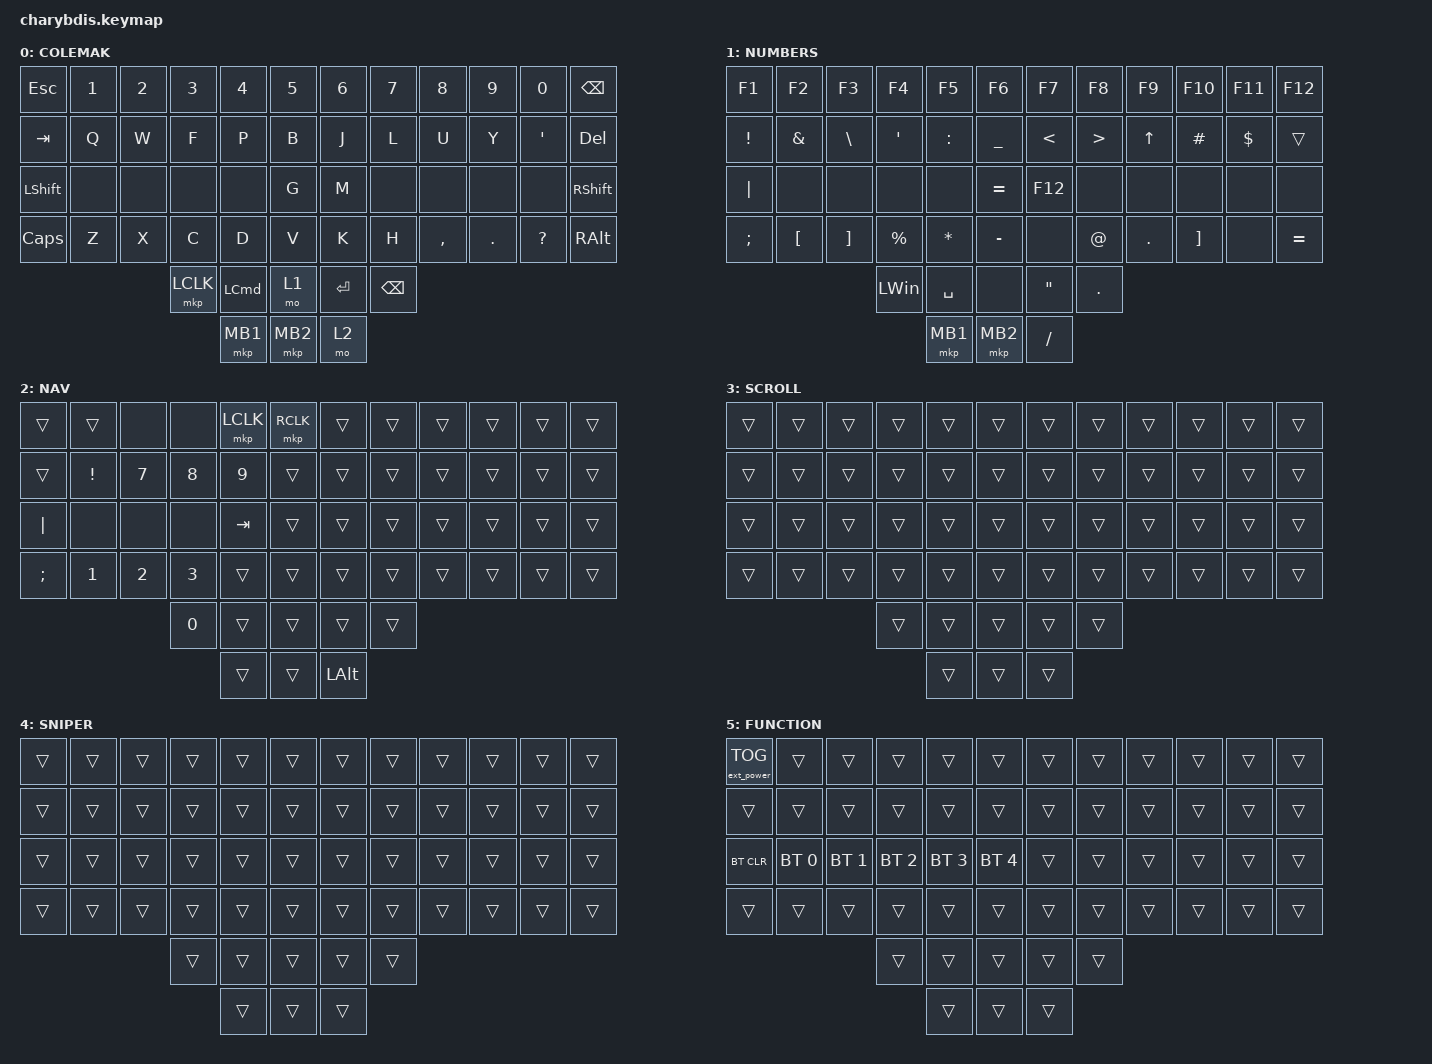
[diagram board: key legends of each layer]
#include <dt-bindings/zmk/mouse.h>
#include <behaviors/mouse_keys.dtsi>
#include <behaviors.dtsi>
#include <dt-bindings/zmk/bt.h>
#include <dt-bindings/zmk/ext_power.h>
#include <dt-bindings/zmk/keys.h>
#include <dt-bindings/zmk/pointing.h>

&lt {
    quick-tap-ms = <150>;
    flavor = "balanced";
};

/ {
    /* input config for mouse move mode */

    trackball_listener {
        compatible = "zmk,input-behavior-listener";
        device = <&vtrackball>;
        layers = <0 1 2>;
        evt-type = <INPUT_EV_REL>;
        x-input-code = <INPUT_REL_X>;
        y-input-code = <INPUT_REL_Y>;
        scale-multiplier = <1>;
        scale-divisor = <2>;
    };

    /* input config for snipe mode */

    trackball_snipe_listener {
        compatible = "zmk,input-behavior-listener";
        device = <&vtrackball>;
        layers = <4>;
        evt-type = <INPUT_EV_REL>;
        x-input-code = <INPUT_REL_X>;
        y-input-code = <INPUT_REL_Y>;
        scale-multiplier = <1>;
        scale-divisor = <4>;
    };

    /* input config for mouse scroll mode */

    trackball_scroll_listener {
        compatible = "zmk,input-behavior-listener";
        device = <&vtrackball>;
        layers = <3>;
        evt-type = <INPUT_EV_REL>;
        x-input-code = <INPUT_REL_MISC>;
        y-input-code = <INPUT_REL_WHEEL>;
        y-invert;
        bindings = <&ib_wheel_scaler 1 14>;
    };

    /* define a resolution down scaler only for INPUT_REL_WHEEL */

    ib_wheel_scaler: ib_wheel_scaler {
        compatible = "zmk,input-behavior-scaler";
        #binding-cells = <2>;
        evt-type = <INPUT_EV_REL>;
        input-code = <INPUT_REL_WHEEL>;
    };

    /* adjust cooldown waiting period for mouse key layer after activated */

    ib_toggle_layer: ib_toggle_layer {
        compatible = "zmk,input-behavior-tog-layer";
        #binding-cells = <1>;
        time-to-live-ms = <750>;
    };

    combos { compatible = "zmk,combos"; };

    keymap {
        compatible = "zmk,keymap";

        // Layer 0: Colemak-DH Base

        colemak_layer {
            bindings = <
&kp ESC     &kp N1  &kp N2  &kp N3     &kp N4    &kp N5      &kp N6     &kp N7    &kp N8     &kp N9   &kp N0            &kp BACKSPACE
&kp TAB     &kp Q   &kp W   &kp F      &kp P     &kp B       &kp J      &kp L     &kp U      &kp Y    &kp SINGLE_QUOTE  &kp DEL
&kp LSHIFT  &none   &none   &none      &none     &kp G       &kp M      &none     &none      &none    &none             &kp RSHIFT
&kp CAPS    &kp Z   &kp X   &kp C      &kp D     &kp V       &kp K      &kp H     &kp COMMA  &kp DOT  &kp QUESTION      &kp RALT
                            &mkp LCLK  &kp LCMD  &mo 1       &kp ENTER  &kp BSPC
                                       &mkp MB1  &mkp MB2    &mo 2
            >;

            label = "COLEMAK";
        };

        // Layer 1: Numbers and Symbols

        numbers_layer {
            bindings = <
&kp F1    &kp F2    &kp F3    &kp F4     &kp F5     &kp F6       &kp F7     &kp F8   &kp F9   &kp F10   &kp F11     &kp F12
&kp EXCL  &kp AMPS  &kp BSLH  &kp SQT    &kp COLON  &kp UNDER    &kp LT     &kp GT   &kp UP   &kp HASH  &kp DOLLAR  &trans
&kp PIPE  &none     &none     &none      &none      &kp EQUAL    &kp F12    &none    &none    &none     &none       &none
&kp SEMI  &kp LBKT  &kp RBKT  &kp PRCNT  &kp ASTRK  &kp MINUS    &none      &kp AT   &kp DOT  &kp RBKT  &none       &kp EQUAL
                              &kp LWIN   &kp SPACE  &none        &kp DQT    &kp DOT
                                         &mkp MB1   &mkp MB2     &kp SLASH
            >;

            label = "NUMBERS";
        };

        // Layer 2: Navigation and Function keys

        nav_layer {
            bindings = <
&trans    &trans    &none   &none   &mkp LCLK  &mkp RCLK    &trans    &trans  &trans  &trans  &trans  &trans
&trans    &kp EXCL  &kp N7  &kp N8  &kp N9     &trans       &trans    &trans  &trans  &trans  &trans  &trans
&kp PIPE  &none     &none   &none   &kp TAB    &trans       &trans    &trans  &trans  &trans  &trans  &trans
&kp SEMI  &kp N1    &kp N2  &kp N3  &trans     &trans       &trans    &trans  &trans  &trans  &trans  &trans
                            &kp N0  &trans     &trans       &trans    &trans
                                    &trans     &trans       &kp LALT
            >;

            label = "NAV";
        };

        // Layer 3: Scroll mode

        scroll_layer {
            bindings = <
&trans  &trans  &trans  &trans  &trans  &trans    &trans  &trans  &trans  &trans  &trans  &trans
&trans  &trans  &trans  &trans  &trans  &trans    &trans  &trans  &trans  &trans  &trans  &trans
&trans  &trans  &trans  &trans  &trans  &trans    &trans  &trans  &trans  &trans  &trans  &trans
&trans  &trans  &trans  &trans  &trans  &trans    &trans  &trans  &trans  &trans  &trans  &trans
                        &trans  &trans  &trans    &trans  &trans
                                &trans  &trans    &trans
            >;

            label = "SCROLL";
        };

        // Layer 4: Sniper mode

        sniper_layer {
            bindings = <
&trans  &trans  &trans  &trans  &trans  &trans    &trans  &trans  &trans  &trans  &trans  &trans
&trans  &trans  &trans  &trans  &trans  &trans    &trans  &trans  &trans  &trans  &trans  &trans
&trans  &trans  &trans  &trans  &trans  &trans    &trans  &trans  &trans  &trans  &trans  &trans
&trans  &trans  &trans  &trans  &trans  &trans    &trans  &trans  &trans  &trans  &trans  &trans
                        &trans  &trans  &trans    &trans  &trans
                                &trans  &trans    &trans
            >;

            label = "SNIPER";
        };

        // Layer 5: Function/Settings

        function_layer {
            bindings = <
&ext_power EP_TOG  &trans        &trans        &trans        &trans        &trans          &trans  &trans  &trans  &trans  &trans  &trans
&trans             &trans        &trans        &trans        &trans        &trans          &trans  &trans  &trans  &trans  &trans  &trans
&bt BT_CLR         &bt BT_SEL 0  &bt BT_SEL 1  &bt BT_SEL 2  &bt BT_SEL 3  &bt BT_SEL 4    &trans  &trans  &trans  &trans  &trans  &trans
&trans             &trans        &trans        &trans        &trans        &trans          &trans  &trans  &trans  &trans  &trans  &trans
                                               &trans        &trans        &trans          &trans  &trans
                                                             &trans        &trans          &trans
            >;

            label = "FUNCTION";
        };
    };
};
